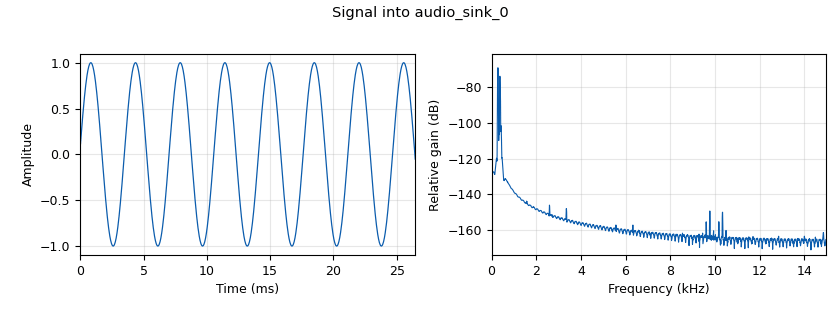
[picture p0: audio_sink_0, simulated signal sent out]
options:
  parameters:
    generate_options: qt_gui
    id: expt_1
    output_language: python
    title: birthday
  states: {}

blocks:
- name: samp_rate
  id: variable
  parameters:
    value: '30000'
  states: {}
- name: audio_sink_0
  id: audio_sink
  parameters:
    samp_rate: samp_rate
  states: {}
- name: blocks_repeat_0
  id: blocks_repeat
  parameters:
    interp: '16000'
    type: float
  states: {}
- name: blocks_vco_f_0
  id: blocks_vco_f
  parameters:
    amplitude: '1'
    samp_rate: samp_rate
    sensitivity: '6.8'
  states: {}
- name: blocks_vector_source_x_0
  id: blocks_vector_source_x
  parameters:
    repeat: 'True'
    type: float
    vector: (261.63, 261.63, 293.66, 261.63, 349.23, 329.63, 261.63, 261.63, 293.66, 261.63, 392, 349.23, 261.63, 261.63, 277.18, 440, 349.23, 329.63, 293.66, 466.16, 466.16, 440, 349.23, 392, 349.23)
  states: {}

connections:
- [blocks_repeat_0, '0', blocks_vco_f_0, '0']
- [blocks_vco_f_0, '0', audio_sink_0, '0']
- [blocks_vector_source_x_0, '0', blocks_repeat_0, '0']

metadata:
  file_format: 1
  grc_version: 3.10.10.0
